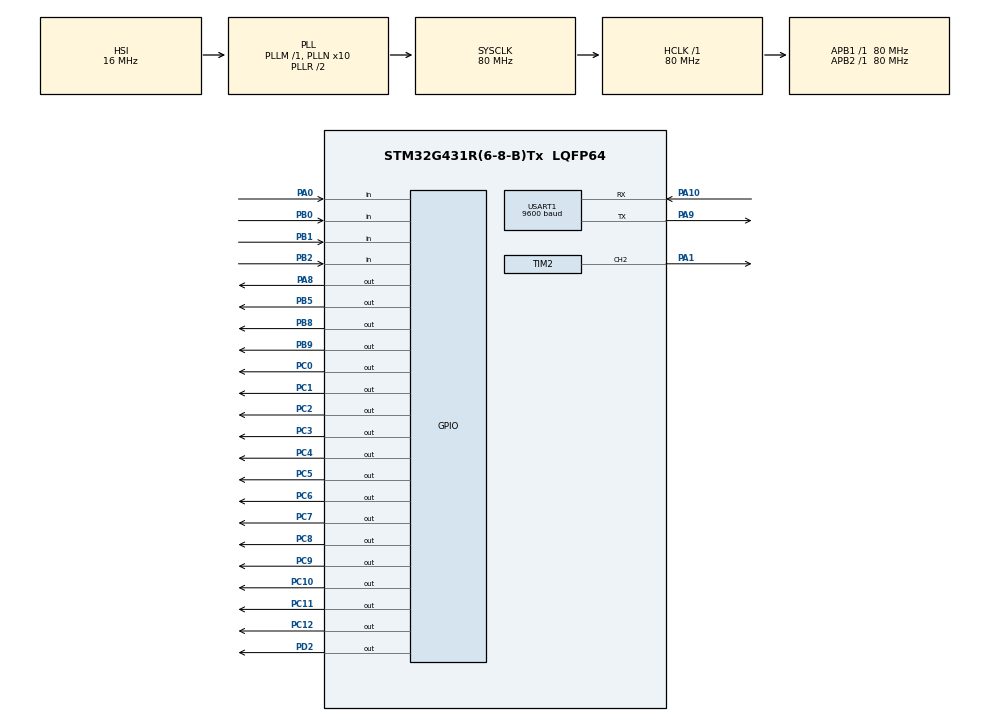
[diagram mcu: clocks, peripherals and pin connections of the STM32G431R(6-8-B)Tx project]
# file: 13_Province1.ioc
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Mcu.Family=STM32G4
Mcu.Name=STM32G431R(6-8-B)Tx
Mcu.Package=LQFP64
NVIC.PriorityGroup=NVIC_PRIORITYGROUP_4
NVIC.TIM1_UP_TIM16_IRQn=true\:0\:0\:false\:false\:true\:true\:true\:true
NVIC.USART1_IRQn=true\:0\:0\:false\:false\:true\:true\:true\:true
PA0.Signal=GPIO_Input
PA1.Signal=S_TIM2_CH2
PA10.Mode=Asynchronous
PA10.Signal=USART1_RX
PA13.Mode=Serial_Wire
PA13.Signal=SYS_JTMS-SWDIO
PA14.Mode=Serial_Wire
PA14.Signal=SYS_JTCK-SWCLK
PA8.Signal=GPIO_Output
PA9.Mode=Asynchronous
PA9.Signal=USART1_TX
PB0.Signal=GPIO_Input
PB1.Signal=GPIO_Input
PB2.Signal=GPIO_Input
PB5.Signal=GPIO_Output
PB8-BOOT0.Signal=GPIO_Output
PB9.Signal=GPIO_Output
PC0.Signal=GPIO_Output
PC1.Signal=GPIO_Output
PC10.Signal=GPIO_Output
PC11.Signal=GPIO_Output
PC12.Signal=GPIO_Output
PC2.Signal=GPIO_Output
PC3.Signal=GPIO_Output
PC4.Signal=GPIO_Output
PC5.Signal=GPIO_Output
PC6.Signal=GPIO_Output
PC7.Signal=GPIO_Output
PC8.Signal=GPIO_Output
PC9.Signal=GPIO_Output
PD2.Signal=GPIO_Output
PF0-OSC_IN.Mode=HSE-External-Oscillator
PF0-OSC_IN.Signal=RCC_OSC_IN
PF1-OSC_OUT.Mode=HSE-External-Oscillator
PF1-OSC_OUT.Signal=RCC_OSC_OUT
ProjectManager.HeapSize=0x200
ProjectManager.StackSize=0x400
ProjectManager.TargetToolchain=MDK-ARM V5.32
RCC.ADC12Freq_Value=80000000
RCC.AHBFreq_Value=80000000
RCC.APB1Freq_Value=80000000
RCC.APB1TimFreq_Value=80000000
RCC.APB2Freq_Value=80000000
RCC.APB2TimFreq_Value=80000000
RCC.CortexFreq_Value=80000000
RCC.EXTERNAL_CLOCK_VALUE=12288000
RCC.HCLKFreq_Value=80000000
RCC.HSE_VALUE=8000000
RCC.HSI48_VALUE=48000000
RCC.HSI_VALUE=16000000
RCC.LSE_VALUE=32768
RCC.PLLN=10
RCC.SYSCLKFreq_VALUE=80000000
RCC.SYSCLKSource=RCC_SYSCLKSOURCE_PLLCLK
RCC.USBFreq_Value=80000000
RCC.VCOOutputFreq_Value=160000000
SH.S_TIM2_CH2.0=TIM2_CH2,PWM Generation2 CH2
TIM1.AutoReloadPreload=TIM_AUTORELOAD_PRELOAD_ENABLE
TIM1.PeriodNoDither=10000-1
TIM1.Prescaler=80-1
TIM2.Channel-PWM\ Generation2\ CH2=TIM_CHANNEL_2
TIM2.PeriodNoDither=1000-1
TIM2.Prescaler=80-1
TIM2.PulseNoDither_2=500
USART1.BaudRate=9600
USART1.VirtualMode-Asynchronous=VM_ASYNC
VP_SYS_VS_DBSignals.Mode=DisableDeadBatterySignals
VP_TIM1_VS_ClockSourceINT.Mode=Internal
VP_TIM2_VS_ClockSourceINT.Mode=Internal
board=custom

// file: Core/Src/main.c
/* USER CODE BEGIN Header */
/**
  ******************************************************************************
  * @file           : main.c
  * @brief          : Main program body
  ******************************************************************************
  * @attention
  *
  * Copyright (c) 2024 STMicroelectronics.
  * All rights reserved.
  *
  * This software is licensed under terms that can be found in the LICENSE file
  * in the root directory of this software component.
  * If no LICENSE file comes with this software, it is provided AS-IS.
  *
  ******************************************************************************
  */
/* USER CODE END Header */
#include "main.h"
#include "tim.h"
#include "usart.h"
#include "gpio.h"

/* USER CODE BEGIN Includes */
#include "stdio.h"
#include "string.h"
#include "lcd.h"
#include "interrupt.h"
/* USER CODE END Includes */

/* USER CODE BEGIN PTD */
extern unsigned char rx[10];
extern unsigned char RX_Buff;
extern int idx;
extern int sta;
extern int error_sta;
/* USER CODE END PTD */

void SystemClock_Config(void);

/* USER CODE BEGIN 0 */
char mima[3]={'@','@','@'};
char mima_true[3]={'1','2','3'};
int mima_sta[3]={1,1,1};
int screen=1;
int error=0;
void rx_mima()
{
	if(idx!=0)
	{
		if(memcmp(rx,mima_true,3)==0 && rx[3]=='-')
		{
			memcpy(mima_true,rx+4,4);
			LED_Disp(0x01);
		}
		idx=0;
		memset(rx,0,sizeof(rx));
	}
}
void KEY()
{
	if(get_key_stat(0) && mima_sta[0])
	{
		mima_sta[0]=0;
		mima[0]='0';
		set_key_stat(0,0);
	}
	else if(get_key_stat(0))
	{
		set_key_stat(0,0);
		if(mima[0]<'9'){mima[0]+=1 ;}
		else		   {mima[0]='0';}

	}
	if(get_key_stat(1) && mima_sta[1])
	{
		mima_sta[1]=0;
		mima[1]='0';
		set_key_stat(1,0);
	}
	else if(get_key_stat(1))
	{
		set_key_stat(1,0);
		if(mima[1]<'9'){mima[1]+=1 ;}
		else		   {mima[1]='0';}

	}
	if(get_key_stat(2) && mima_sta[2])
	{
		mima_sta[2]=0;
		mima[2]='0';
		set_key_stat(2,0);
	}
	else if(get_key_stat(2))
	{
		set_key_stat(2,0);
		if(mima[2]<'9'){mima[2]+=1 ;}
		else		   {mima[2]='0';}
	}
	if(get_key_stat(3))
	{
		set_key_stat(3,0);
		if(memcmp(mima_true,mima,3)==0)
		{
			error=0;
			screen=0;
			sta=1;
			LED_Disp(0x01);
			mima_sta[0]=1;mima_sta[1]=1;mima_sta[1]=1;
			__HAL_TIM_PRESCALER(&htim2,39);
			__HAL_TIM_SetCompare(&htim2,TIM_CHANNEL_2,100);
		}
		else
		{
			error++;
			error_sta=1;
			memcpy(mima,"@@@",3);
			mima_sta[0]=1;mima_sta[1]=1;mima_sta[1]=1;
		}
	}
}
void PSD()
{
	unsigned char str[20];
	LCD_DisplayStringLine(Line1,(u8 *)"       PSD ");
	sprintf((char *)str,"    B1:%c   ",mima[0]);
	LCD_DisplayStringLine(Line3,str);
	sprintf((char *)str,"    B2:%c   ",mima[1]);
	LCD_DisplayStringLine(Line4,str);
	sprintf((char *)str,"    B3:%c   ",mima[2]);
	LCD_DisplayStringLine(Line5,str);
}
void STA()
{
	int frq=2000;
	int duty=10;
	unsigned char str[20];
	LCD_DisplayStringLine(Line1,(u8 *)"       STA ");
	sprintf((char *)str,"    F:%d   ",frq);
	LCD_DisplayStringLine(Line3,str);
	sprintf((char *)str,"    D:%d%%    ",duty);
	LCD_DisplayStringLine(Line4,str);
	LCD_ClearLine(Line5);
}
/* USER CODE END 0 */

int main(void)
{

  /* MCU Configuration--------------------------------------------------------*/

  /* Reset of all peripherals, Initializes the Flash interface and the Systick. */
  HAL_Init();

  /* Configure the system clock */
  SystemClock_Config();

  /* Initialize all configured peripherals */
  MX_GPIO_Init();
  MX_TIM1_Init();
  MX_TIM2_Init();
  MX_USART1_UART_Init();
  /* USER CODE BEGIN 2 */
	LCD_Init();
	LCD_Clear(Black);
	LCD_SetTextColor(White);
	LCD_SetBackColor(Black);
	HAL_UART_Receive_IT(&huart1,&RX_Buff,1);
	HAL_TIM_Base_Start_IT(&htim1);
	HAL_TIM_PWM_Start(&htim2,TIM_CHANNEL_2);
	LED_Disp(0x00);
  /* USER CODE END 2 */

  /* Infinite loop */
  while (1)
  {

    /* USER CODE BEGIN 3 */
	  rx_mima();
	  KEY();
	  HAL_UART_Transmit(&huart1,mima_true,sizeof(mima_true),0xffff);
	  switch(screen)
	  {
		  case 0:
			STA();break;
		  case 1:
			PSD();break;
	  }

  }
  /* USER CODE END 3 */
}

void SystemClock_Config(void)
{
  RCC_OscInitTypeDef RCC_OscInitStruct = {0};
  RCC_ClkInitTypeDef RCC_ClkInitStruct = {0};

  /** Configure the main internal regulator output voltage
  */
  HAL_PWREx_ControlVoltageScaling(PWR_REGULATOR_VOLTAGE_SCALE1);

  /** Initializes the RCC Oscillators according to the specified parameters
  * in the RCC_OscInitTypeDef structure.
  */
  RCC_OscInitStruct.OscillatorType = RCC_OSCILLATORTYPE_HSI;
  RCC_OscInitStruct.HSIState = RCC_HSI_ON;
  RCC_OscInitStruct.HSICalibrationValue = RCC_HSICALIBRATION_DEFAULT;
  RCC_OscInitStruct.PLL.PLLState = RCC_PLL_ON;
  RCC_OscInitStruct.PLL.PLLSource = RCC_PLLSOURCE_HSI;
  RCC_OscInitStruct.PLL.PLLM = RCC_PLLM_DIV1;
  RCC_OscInitStruct.PLL.PLLN = 10;
  RCC_OscInitStruct.PLL.PLLP = RCC_PLLP_DIV2;
  RCC_OscInitStruct.PLL.PLLQ = RCC_PLLQ_DIV2;
  RCC_OscInitStruct.PLL.PLLR = RCC_PLLR_DIV2;
  if (HAL_RCC_OscConfig(&RCC_OscInitStruct) != HAL_OK)
  {
    Error_Handler();
  }

  /** Initializes the CPU, AHB and APB buses clocks
  */
  RCC_ClkInitStruct.ClockType = RCC_CLOCKTYPE_HCLK|RCC_CLOCKTYPE_SYSCLK
                              |RCC_CLOCKTYPE_PCLK1|RCC_CLOCKTYPE_PCLK2;
  RCC_ClkInitStruct.SYSCLKSource = RCC_SYSCLKSOURCE_PLLCLK;
  RCC_ClkInitStruct.AHBCLKDivider = RCC_SYSCLK_DIV1;
  RCC_ClkInitStruct.APB1CLKDivider = RCC_HCLK_DIV1;
  RCC_ClkInitStruct.APB2CLKDivider = RCC_HCLK_DIV1;

  if (HAL_RCC_ClockConfig(&RCC_ClkInitStruct, FLASH_LATENCY_2) != HAL_OK)
  {
    Error_Handler();
  }
}

void Error_Handler(void)
{
  __disable_irq();
  while (1)
  {
  }
}
